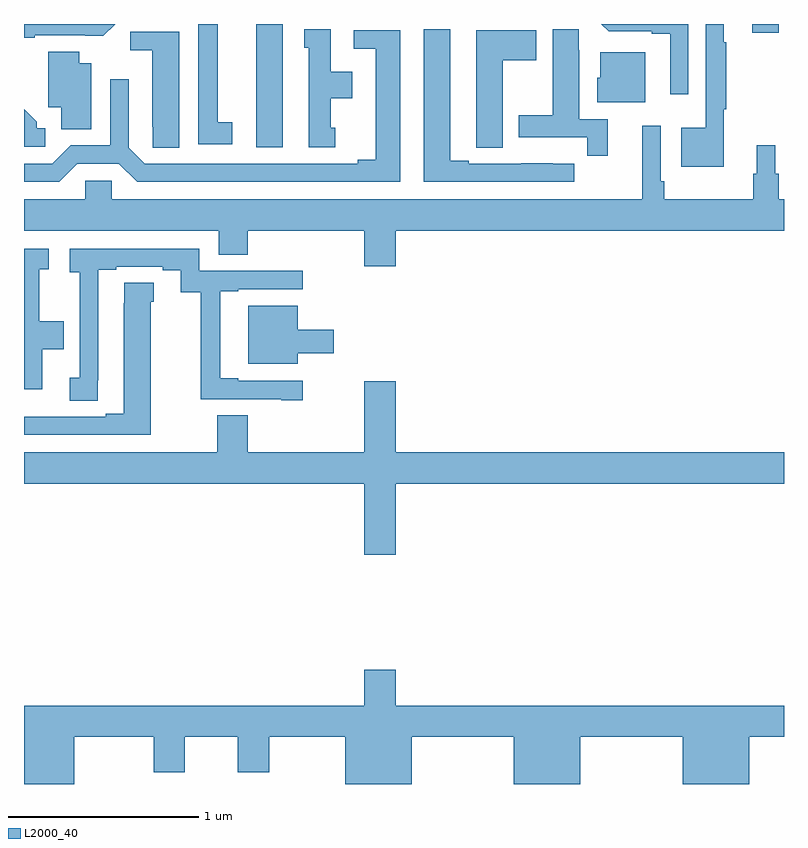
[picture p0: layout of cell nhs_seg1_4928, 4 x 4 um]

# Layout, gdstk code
import gdstk
lib = gdstk.Library(unit=1e-6, precision=1e-09)
def R(c, l, rs):  # rectangles x0, y0, x1, y1
    for r in rs: c.add(gdstk.rectangle(r[:2], r[2:], *l))
def P(c, l, *ps):  # polygons
    for p in ps: c.add(gdstk.Polygon(p, *l))
L2000_40 = (2000, 40)

nhs_seg1_4928 = lib.new_cell('nhs_seg1_4928')
R(nhs_seg1_4928, L2000_40, [(380.222,505.551,380.362,506.199), (382.832,506.154,382.972,506.199)])
P(nhs_seg1_4928, L2000_40, [(379.057,506.139),(379.322,506.139),(379.322,506.138),(379.418,506.138),(379.479,506.199),(379,506.199),(379,506.127),(379.057,506.127)],
  [(380.095,505.682),(380.02,505.682),(380.02,506.199),(379.916,506.199),(379.916,505.566),(380.095,505.566)],
  [(382.684,505.75),(382.696,505.75),(382.696,506.102),(382.684,506.102),(382.684,506.199),(382.587,506.199),(382.587,505.654),(382.46,505.654),(382.46,505.448),(382.684,505.448)],
  [(382.497,506.199),(382.038,506.199),(382.077,506.16),(382.304,506.16),(382.304,506.148),(382.4,506.148),(382.4,505.83),(382.497,505.83)],
  [(380.638,505.653),(380.614,505.653),(380.614,505.808),(380.728,505.808),(380.728,505.948),(380.614,505.948),(380.614,506.171),(380.474,506.171),(380.474,506.073),(380.498,506.073),(380.498,505.551),(380.638,505.551)],
  [(381.895,505.464),(381.782,505.464),(381.782,505.465),(381.616,505.465),(381.616,505.464),(381.34,505.464),(381.34,505.479),(381.244,505.479),(381.244,506.171),(381.104,506.171),(381.104,505.368),(381.895,505.368)],
  [(382.073,505.698),(381.922,505.698),(381.922,506.06),(381.921,506.06),(381.921,506.171),(381.782,506.171),(381.782,505.719),(381.605,505.719),(381.605,505.602),(381.964,505.602),(381.964,505.506),(382.073,505.506)],
  [(381.52,506.008),(381.697,506.008),(381.697,506.167),(381.38,506.167),(381.38,505.657),(381.381,505.657),(381.381,505.549),(381.52,505.549)],
  [(379.281,505.464),(379.499,505.464),(379.595,505.368),(380.98,505.368),(380.98,506.166),(380.736,506.166),(380.736,506.07),(380.852,506.07),(380.852,505.484),(380.756,505.484),(380.756,505.464),(379.635,505.464),(379.551,505.548),(379.551,505.909),(379.455,505.909),(379.455,505.56),(379.245,505.56),(379.149,505.464),(379,505.464),(379,505.368),(379.185,505.368)],
  [(379.816,506.157),(379.56,506.157),(379.56,506.06),(379.676,506.06),(379.676,505.657),(379.677,505.657),(379.677,505.549),(379.816,505.549)],
  [(379.354,505.993),(379.291,505.993),(379.291,506.054),(379.127,506.054),(379.127,505.76),(379.196,505.76),(379.196,505.645),(379.354,505.645)],
  [(382.27,506.05),(382.034,506.05),(382.034,505.917),(382.016,505.917),(382.016,505.787),(382.27,505.787)],
  [(379.111,505.65),(379.066,505.65),(379.066,505.685),(379,505.751),(379,505.554),(379.111,505.554)],
  [(380.956,505.112),(383,505.112),(383,505.276),(382.973,505.276),(382.973,505.41),(382.954,505.41),(382.954,505.561),(382.856,505.561),(382.856,505.41),(382.837,505.41),(382.837,505.276),(382.37,505.276),(382.37,505.372),(382.35,505.372),(382.35,505.663),(382.253,505.663),(382.253,505.276),(379.461,505.276),(379.461,505.374),(379.323,505.374),(379.323,505.276),(379,505.276),(379,505.112),(380.024,505.112),(380.024,504.985),(380.177,504.985),(380.177,505.112),(380.792,505.112),(380.792,504.924),(380.956,504.924)],
  [(379.389,504.325),(379.39,504.325),(379.39,504.906),(379.486,504.906),(379.486,504.921),(379.73,504.921),(379.73,504.903),(379.826,504.903),(379.826,504.788),(379.93,504.788),(379.93,504.225),(380.354,504.225),(380.354,504.22),(380.467,504.22),(380.467,504.321),(380.128,504.321),(380.128,504.334),(380.032,504.334),(380.032,504.792),(380.128,504.792),(380.128,504.804),(380.467,504.804),(380.467,504.9),(379.923,504.9),(379.923,505.017),(379.242,505.017),(379.242,504.893),(379.293,504.893),(379.293,504.336),(379.242,504.336),(379.242,504.217),(379.389,504.217)],
  [(379.096,504.487),(379.208,504.487),(379.208,504.634),(379.079,504.634),(379.079,504.909),(379.129,504.909),(379.129,505.015),(379,505.015),(379,504.276),(379.096,504.276)],
  [(379.666,504.738),(379.684,504.738),(379.684,504.836),(379.527,504.836),(379.527,504.728),(379.526,504.728),(379.526,504.147),(379.43,504.147),(379.43,504.132),(379.099,504.132),(379.099,504.133),(379,504.133),(379,504.036),(379.666,504.036)],
  [(380.44,504.467),(380.629,504.467),(380.629,504.589),(380.44,504.589),(380.44,504.715),(380.18,504.715),(380.18,504.41),(380.44,504.41)],
  [(380.956,503.78),(383,503.78),(383,503.944),(380.956,503.944),(380.956,504.319),(380.792,504.319),(380.792,503.944),(380.177,503.944),(380.177,504.14),(380.017,504.14),(380.017,503.944),(379,503.944),(379,503.78),(380.792,503.78),(380.792,503.406),(380.956,503.406)],
  [(379.264,502.448),(379.682,502.448),(379.682,502.26),(379.846,502.26),(379.846,502.448),(380.126,502.448),(380.126,502.26),(380.29,502.26),(380.29,502.448),(380.69,502.448),(380.69,502.199),(381.04,502.199),(381.04,502.448),(381.578,502.448),(381.578,502.199),(381.928,502.199),(381.928,502.448),(382.466,502.448),(382.466,502.199),(382.816,502.199),(382.816,502.448),(383,502.448),(383,502.612),(380.956,502.612),(380.956,502.801),(380.792,502.801),(380.792,502.612),(379,502.612),(379,502.199),(379.264,502.199)])

lib.write_gds('nhs_seg1_4928.gds')
